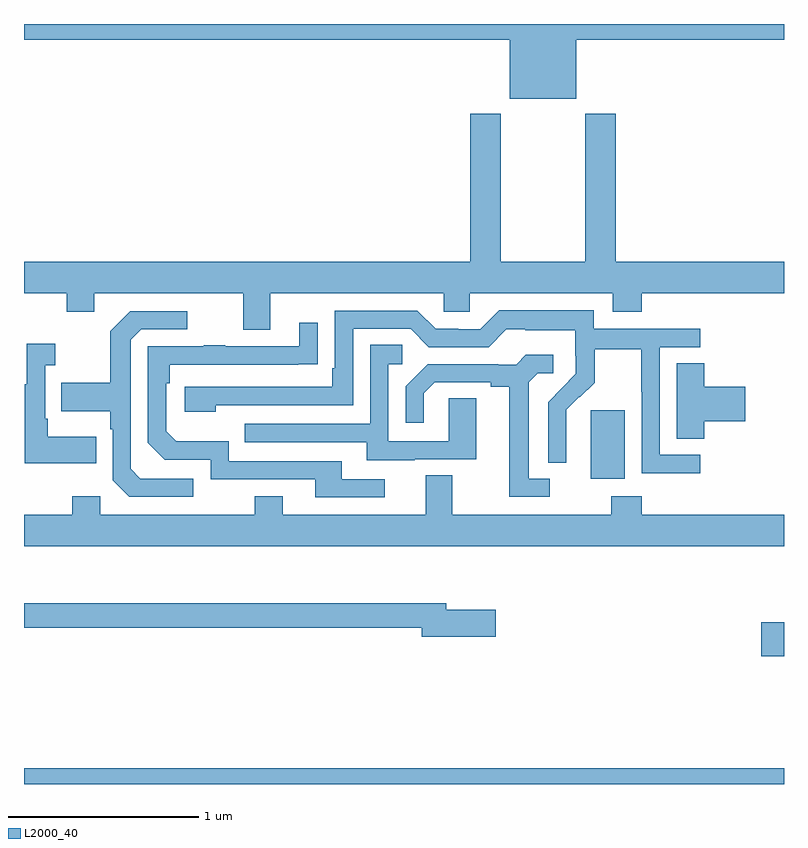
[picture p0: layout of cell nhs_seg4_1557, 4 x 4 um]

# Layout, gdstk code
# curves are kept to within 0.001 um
import gdstk
lib = gdstk.Library(unit=1e-6, precision=1e-09)
def R(c, l, rs):  # rectangles x0, y0, x1, y1
    for r in rs: c.add(gdstk.rectangle(r[:2], r[2:], *l))
def P(c, l, *ps):  # polygons
    for p in ps: c.add(gdstk.Polygon(p, *l))
L2000_40 = (2000, 40)

nhs_seg4_1557 = lib.new_cell('nhs_seg4_1557')
R(nhs_seg4_1557, L2000_40, [(191,796.9,195,796.984), (194.88,797.573,195,797.751), (193.982,798.506,194.161,798.867)])
P(nhs_seg4_1557, L2000_40, [(193.906,800.816),(195,800.816),(195,800.9),(191,800.9),(191,800.816),(193.556,800.816),(193.556,800.507),(193.906,800.507)],
  [(192.295,799.484),(193.209,799.484),(193.209,799.386),(193.347,799.386),(193.347,799.484),(194.099,799.484),(194.099,799.385),(194.252,799.385),(194.252,799.484),(195,799.484),(195,799.648),(194.114,799.648),(194.114,800.428),(193.954,800.428),(193.954,799.648),(193.509,799.648),(193.509,800.428),(193.349,800.428),(193.349,799.648),(191,799.648),(191,799.484),(191.224,799.484),(191.224,799.385),(191.371,799.385),(191.371,799.484),(192.155,799.484),(192.155,799.29),(192.295,799.29)],
  [(194.56,798.633),(194.346,798.633),(194.346,799.2),(194.56,799.2),(194.56,799.296),(193.998,799.296),(193.998,799.393),(193.501,799.393),(193.401,799.293),(193.286,799.293),(193.286,799.296),(193.167,799.296),(193.071,799.392),(192.636,799.392),(192.636,799.087),(192.623,799.087),(192.623,798.99),(191.847,798.99),(191.847,798.86),(192.008,798.86),(192.008,798.894),(192.732,798.894),(192.732,799.296),(193.035,799.296),(193.131,799.2),(193.446,799.2),(193.539,799.293),(193.639,799.293),(193.639,799.289),(193.902,799.289),(193.902,799.155),(193.904,799.155),(193.904,799.058),(193.758,798.91),(193.758,798.592),(193.854,798.592),(193.853,798.869),(193.923,798.939),(193.926,798.936),(194.003,799.013),(194.003,799.188),(194.248,799.188),(194.248,798.964),(194.25,798.964),(194.25,798.535),(194.56,798.535)],
  [(191.89,798.507),(191.613,798.507),(191.562,798.558),(191.562,799.239),(191.616,799.293),(191.86,799.293),(191.86,799.389),(191.559,799.389),(191.454,799.283),(191.454,799.011),(191.197,799.011),(191.197,798.863),(191.454,798.863),(191.454,798.767),(191.466,798.767),(191.466,798.498),(191.553,798.411),(191.89,798.411)],
  [(192.898,798.504),(192.673,798.504),(192.673,798.6),(192.078,798.6),(192.078,798.703),(191.801,798.703),(191.748,798.756),(191.748,799.01),(191.768,799.01),(191.768,799.107),(192.545,799.108),(192.545,799.327),(192.449,799.327),(192.449,799.203),(192.059,799.203),(192.059,799.208),(191.947,799.208),(191.947,799.203),(191.652,799.203),(191.652,798.696),(191.742,798.606),(191.982,798.606),(191.982,798.504),(192.533,798.504),(192.533,798.408),(192.898,798.408)],
  [(191.381,798.727),(191.125,798.727),(191.125,798.823),(191.112,798.823),(191.112,799.103),(191.164,799.103),(191.164,799.216),(191.015,799.216),(191.015,799.003),(191.004,799.003),(191.004,798.587),(191.381,798.587)],
  [(193.057,798.609),(193.381,798.609),(193.381,798.929),(193.236,798.929),(193.236,798.705),(192.918,798.705),(192.918,799.11),(192.991,799.11),(192.991,799.211),(192.822,799.211),(192.822,798.795),(192.163,798.795),(192.163,798.699),(192.803,798.699),(192.803,798.605),(193.057,798.605)],
  [(193.768,798.507),(193.657,798.507),(193.657,799.015),(193.704,799.062),(193.786,799.062),(193.786,799.159),(193.642,799.159),(193.59,799.107),(193.496,799.107),(193.496,799.11),(193.124,799.11),(193.008,798.994),(193.008,798.801),(193.105,798.801),(193.105,798.957),(193.162,799.014),(193.457,799.014),(193.457,798.992),(193.553,798.992),(193.553,798.411),(193.768,798.411)],
  [(194.579,798.809),(194.797,798.809),(194.797,798.992),(194.579,798.992),(194.579,799.115),(194.435,799.115),(194.435,798.718),(194.579,798.718)],
  [(195,798.316),(194.252,798.316),(194.252,798.415),(194.092,798.415),(194.092,798.316),(193.255,798.316),(193.255,798.524),(193.115,798.524),(193.115,798.316),(192.361,798.316),(192.361,798.415),(192.214,798.415),(192.214,798.316),(191.4,798.316),(191.4,798.415),(191.254,798.415),(191.254,798.316),(191,798.316),(191,798.152),(195,798.152)],
  [(193.483,797.817),(193.222,797.817),(193.222,797.851),(191,797.851),(191,797.722),(193.094,797.722),(193.094,797.675),(193.483,797.675)])

lib.write_gds('nhs_seg4_1557.gds')
